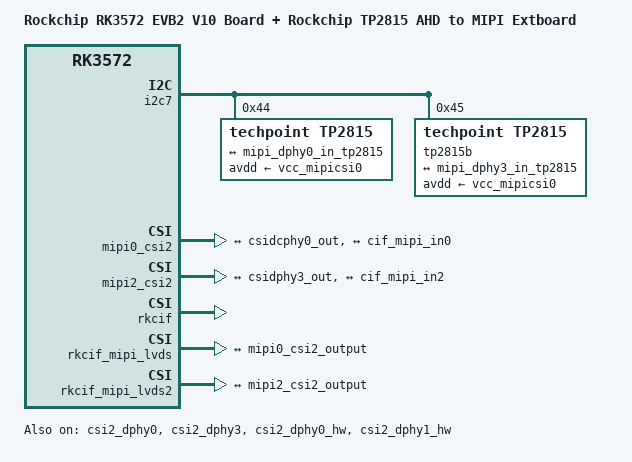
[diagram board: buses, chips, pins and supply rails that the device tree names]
// SPDX-License-Identifier: (GPL-2.0+ OR MIT)
/*
 * Copyright (c) 2026 Rockchip Electronics Co., Ltd.
 *
 */

/dts-v1/;

#include "rk3572-evb2-v10.dtsi"
#include "rk3572-android.dtsi"

/ {
	model = "Rockchip RK3572 EVB2 V10 Board + Rockchip TP2815 AHD to MIPI Extboard";
	compatible = "rockchip,rk3572-evb2-v10", "rockchip,rk3572";
};

&csi2_dphy0 {
	status = "okay";

	ports {
		#address-cells = <1>;
		#size-cells = <0>;
		port@0 {
			reg = <0>;
			#address-cells = <1>;
			#size-cells = <0>;

			mipi_dphy0_in_tp2815: endpoint@7 {
				reg = <7>;
				remote-endpoint = <&tp2815_out0>;
				data-lanes = <1 2 3 4>;
			};
		};
		port@1 {
			reg = <1>;
			#address-cells = <1>;
			#size-cells = <0>;

			csidcphy0_out: endpoint@0 {
				reg = <0>;
				remote-endpoint = <&mipi0_csi2_input>;
			};
		};
	};
};

&csi2_dphy3 {
	status = "okay";

	ports {
		#address-cells = <1>;
		#size-cells = <0>;
		port@0 {
			reg = <0>;
			#address-cells = <1>;
			#size-cells = <0>;

			mipi_dphy3_in_tp2815: endpoint@1 {
				reg = <1>;
				remote-endpoint = <&tp2815_out1>;
				data-lanes = <1 2 3 4>;
			};
		};
		port@1 {
			reg = <1>;
			#address-cells = <1>;
			#size-cells = <0>;

			csidphy3_out: endpoint@0 {
				reg = <0>;
				remote-endpoint = <&mipi2_csi2_input>;
			};
		};
	};
};

&csi2_dphy0_hw {
	status = "okay";
};

&csi2_dphy1_hw {
	status = "okay";
};

&i2c7 {
	status = "okay";
	pinctrl-names = "default";
	pinctrl-0 = <&i2c7m1_xfer_pins>;

	tp2815: tp2815@44 {
		compatible = "techpoint,tp2815";
		status = "okay";
		reg = <0x44>;
		clocks = <&cru CAM_CLK0_OUT_IOUT>;
		clock-names = "xvclk";
		power-domains = <&power RK3572_PD_VI>;
		avdd-supply = <&vcc_mipicsi0>;
		rockchip,camera-module-index = <0>;
		rockchip,camera-module-facing = "back";
		rockchip,camera-module-name = "default";
		rockchip,camera-module-lens-name = "default";

		port {
			tp2815_out0: endpoint {
				remote-endpoint = <&mipi_dphy0_in_tp2815>;
				data-lanes = <1 2 3 4>;
			};
		};
	};

	tp2815b: tp2815b@45 {
		compatible = "techpoint,tp2815";
		status = "okay";
		reg = <0x45>;
		clocks = <&cru CAM_CLK0_OUT_IOUT>;
		clock-names = "xvclk";
		power-domains = <&power RK3572_PD_VI>;
		avdd-supply = <&vcc_mipicsi0>;
		rockchip,camera-module-index = <0>;
		rockchip,camera-module-facing = "back";
		rockchip,camera-module-name = "default";
		rockchip,camera-module-lens-name = "default";

		port {
			tp2815_out1: endpoint {
				remote-endpoint = <&mipi_dphy3_in_tp2815>;
				data-lanes = <1 2 3 4>;
			};
		};
	};
};

&mipi0_csi2 {
	status = "okay";

	ports {
		#address-cells = <1>;
		#size-cells = <0>;

		port@0 {
			reg = <0>;
			#address-cells = <1>;
			#size-cells = <0>;

			mipi0_csi2_input: endpoint@1 {
				reg = <1>;
				remote-endpoint = <&csidcphy0_out>;
			};
		};

		port@1 {
			reg = <1>;
			#address-cells = <1>;
			#size-cells = <0>;

			mipi0_csi2_output: endpoint@0 {
				reg = <0>;
				remote-endpoint = <&cif_mipi_in0>;
			};
		};
	};
};

&mipi2_csi2 {
	status = "okay";

	ports {
		#address-cells = <1>;
		#size-cells = <0>;

		port@0 {
			reg = <0>;
			#address-cells = <1>;
			#size-cells = <0>;

			mipi2_csi2_input: endpoint@1 {
				reg = <1>;
				remote-endpoint = <&csidphy3_out>;
			};
		};

		port@1 {
			reg = <1>;
			#address-cells = <1>;
			#size-cells = <0>;

			mipi2_csi2_output: endpoint@0 {
				reg = <0>;
				remote-endpoint = <&cif_mipi_in2>;
			};
		};
	};
};

&rkcif {
	status = "okay";
	pinctrl-names = "default";
	pinctrl-0 = <&cam_clk0m1_clk0_pins>;
	rockchip,android-usb-camerahal-enable;
};

&rkcif_mipi_lvds {
	status = "okay";

	port {
		cif_mipi_in0: endpoint {
			remote-endpoint = <&mipi0_csi2_output>;
		};
	};
};

&rkcif_mipi_lvds2 {
	status = "okay";

	port {
		cif_mipi_in2: endpoint {
			remote-endpoint = <&mipi2_csi2_output>;
		};
	};
};

&rkcif_mipi_lvds_sditf {
	status = "disabled";
};

&rkcif_mmu {
	status = "okay";
};

&rkisp {
	status = "disabled";
};

&rkisp_mmu {
	status = "disabled";
};

&rkisp_vir0 {
	status = "disabled";
};

&rkisp_vir0_sditf {
	status = "disabled";
};

&rkvpss {
	status = "disabled";
};

&rkvpss_mmu {
	status = "disabled";
};

&rkvpss_vir0 {
	status = "disabled";
};
